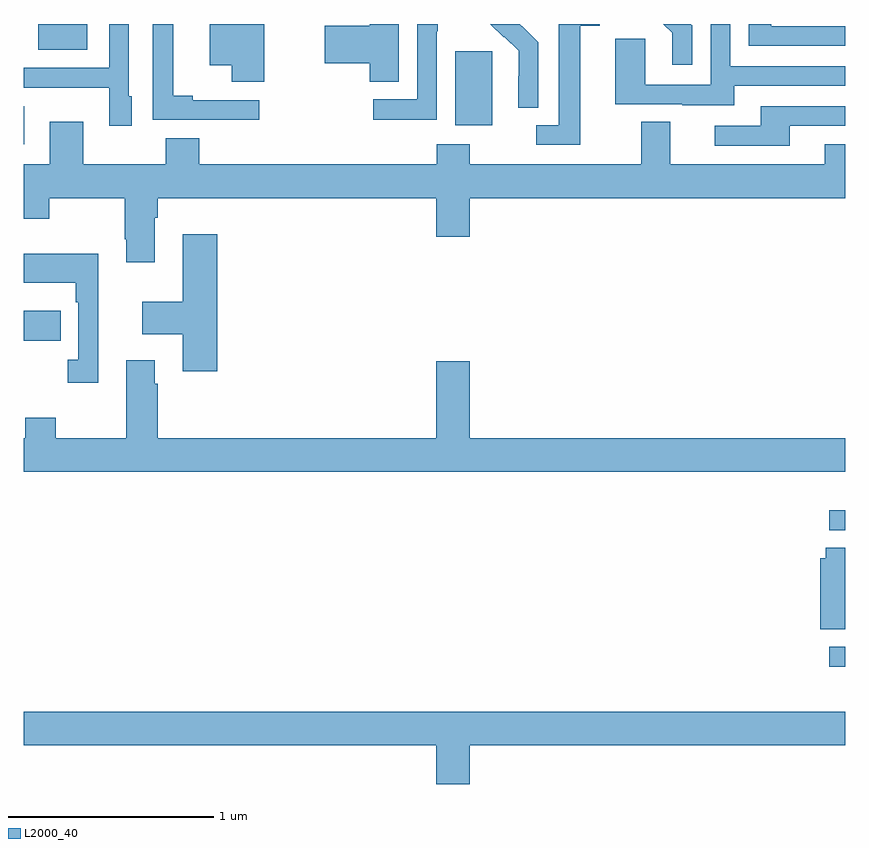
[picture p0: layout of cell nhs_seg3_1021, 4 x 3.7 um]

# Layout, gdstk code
import gdstk
lib = gdstk.Library(unit=1e-6, precision=1e-09)
def R(c, l, rs):  # rectangles x0, y0, x1, y1
    for r in rs: c.add(gdstk.rectangle(r[:2], r[2:], *l))
def P(c, l, *ps):  # polygons
    for p in ps: c.add(gdstk.Polygon(p, *l))
L2000_40 = (2000, 40)

nhs_seg3_1021 = lib.new_cell('nhs_seg3_1021')
R(nhs_seg3_1021, L2000_40, [(166.923,729.271,167,729.369), (166.923,729.936,167,730.032), (163,730.858,163.181,731.005), (163,731.814,163.003,732), (165.101,731.906,165.28,732.267), (163.07,732.275,163.309,732.4)])
P(nhs_seg3_1021, L2000_40, [(164.17,732.4),(163.907,732.4),(163.907,732.2),(164.012,732.2),(164.012,732.12),(164.17,732.12)],
  [(164.827,732.4),(164.684,732.4),(164.684,732.392),(164.466,732.392),(164.466,732.209),(164.684,732.209),(164.684,732.118),(164.827,732.118)],
  [(163.525,732.048),(163.512,732.048),(163.512,732.4),(163.416,732.4),(163.416,732.186),(163,732.186),(163,732.09),(163.099,732.09),(163.099,732.089),(163.416,732.089),(163.416,731.904),(163.525,731.904)],
  [(166.459,732.099),(167,732.099),(167,732.195),(166.44,732.195),(166.44,732.4),(166.344,732.4),(166.344,732.105),(166.026,732.105),(166.026,732.329),(165.881,732.329),(165.881,732.009),(166.205,732.009),(166.205,732.005),(166.459,732.005)],
  [(166.254,732.394),(166.248,732.4),(166.114,732.4),(166.157,732.357),(166.157,732.201),(166.254,732.201)],
  [(165.709,732.392),(165.805,732.392),(165.805,732.4),(165.605,732.4),(165.605,731.907),(165.495,731.907),(165.495,731.811),(165.709,731.811)],
  [(164.146,732.03),(163.822,732.03),(163.822,732.05),(163.727,732.05),(163.727,732.4),(163.629,732.4),(163.629,731.934),(164.146,731.934)],
  [(167,732.39),(166.639,732.39),(166.639,732.4),(166.53,732.4),(166.53,732.294),(167,732.294)],
  [(165.504,732.31),(165.431,732.383),(165.432,732.384),(165.416,732.4),(165.272,732.4),(165.336,732.336),(165.339,732.339),(165.41,732.269),(165.41,732.146),(165.408,732.146),(165.408,731.992),(165.504,731.992)],
  [(165.012,732.364),(165.015,732.364),(165.015,732.4),(164.916,732.4),(164.916,732.033),(164.703,732.033),(164.703,731.935),(165.012,731.935)],
  [(166.729,731.904),(167,731.904),(167,732),(166.589,732),(166.589,731.904),(166.365,731.904),(166.365,731.808),(166.729,731.808)],
  [(163.639,731.456),(163.652,731.456),(163.652,731.552),(165.008,731.552),(165.008,731.364),(165.172,731.364),(165.172,731.552),(167,731.552),(167,731.815),(166.901,731.815),(166.901,731.716),(166.147,731.716),(166.147,731.924),(166.007,731.924),(166.007,731.716),(165.171,731.716),(165.171,731.815),(165.011,731.815),(165.011,731.716),(163.855,731.716),(163.855,731.845),(163.691,731.845),(163.691,731.716),(163.291,731.716),(163.291,731.923),(163.127,731.923),(163.127,731.716),(163,731.716),(163,731.453),(163.125,731.453),(163.125,731.552),(163.492,731.552),(163.492,731.353),(163.499,731.353),(163.499,731.241),(163.639,731.241)],
  [(163.943,731.377),(163.775,731.377),(163.775,731.047),(163.578,731.047),(163.578,730.889),(163.775,730.889),(163.775,730.71),(163.943,730.71)],
  [(163.364,731.281),(163,731.281),(163,731.141),(163.254,731.141),(163.254,731.045),(163.266,731.045),(163.266,730.766),(163.215,730.766),(163.215,730.653),(163.364,730.653)],
  [(167,730.384),(165.172,730.384),(165.172,730.759),(165.008,730.759),(165.008,730.384),(163.652,730.384),(163.652,730.649),(163.639,730.649),(163.639,730.762),(163.499,730.762),(163.499,730.384),(163.155,730.384),(163.155,730.483),(163.007,730.483),(163.007,730.384),(163,730.384),(163,730.22),(167,730.22)],
  [(167,729.851),(166.904,729.851),(166.904,729.798),(166.877,729.798),(166.877,729.454),(167,729.454)],
  [(165.172,728.888),(167,728.888),(167,729.052),(163,729.052),(163,728.888),(165.008,728.888),(165.008,728.7),(165.172,728.7)])

lib.write_gds('nhs_seg3_1021.gds')
